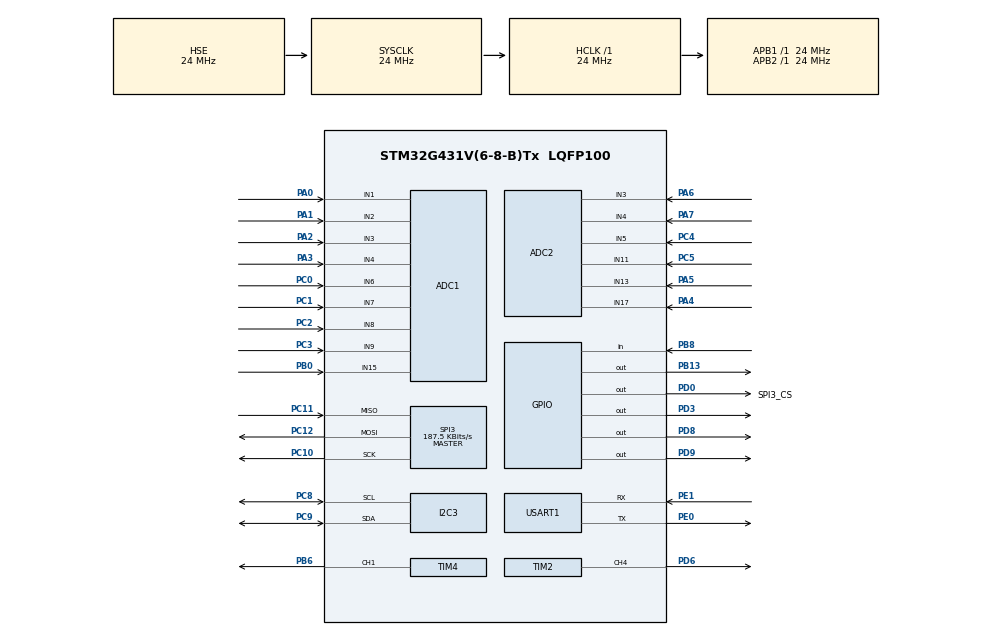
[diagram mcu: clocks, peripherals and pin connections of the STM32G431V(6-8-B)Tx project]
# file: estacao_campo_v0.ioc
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ADC1.Channel-0\#ChannelRegularConversion=ADC_CHANNEL_6
ADC1.Channel-1\#ChannelRegularConversion=ADC_CHANNEL_7
ADC1.Channel-2\#ChannelRegularConversion=ADC_CHANNEL_8
ADC1.Channel-3\#ChannelRegularConversion=ADC_CHANNEL_9
ADC1.Channel-4\#ChannelRegularConversion=ADC_CHANNEL_1
ADC1.Channel-5\#ChannelRegularConversion=ADC_CHANNEL_2
ADC1.Channel-6\#ChannelRegularConversion=ADC_CHANNEL_3
ADC1.Channel-7\#ChannelRegularConversion=ADC_CHANNEL_4
ADC1.Channel-8\#ChannelRegularConversion=ADC_CHANNEL_15
ADC1.ClockPrescaler=ADC_CLOCK_ASYNC_DIV12
ADC1.ContinuousConvMode=ENABLE
ADC1.DMAContinuousRequests=ENABLE
ADC1.NbrOfConversion=9
ADC1.NbrOfConversionFlag=1
ADC1.OffsetNumber-0\#ChannelRegularConversion=ADC_OFFSET_NONE
ADC1.OffsetNumber-1\#ChannelRegularConversion=ADC_OFFSET_NONE
ADC1.OffsetNumber-2\#ChannelRegularConversion=ADC_OFFSET_NONE
ADC1.OffsetNumber-3\#ChannelRegularConversion=ADC_OFFSET_NONE
ADC1.OffsetNumber-4\#ChannelRegularConversion=ADC_OFFSET_NONE
ADC1.OffsetNumber-5\#ChannelRegularConversion=ADC_OFFSET_NONE
ADC1.OffsetNumber-6\#ChannelRegularConversion=ADC_OFFSET_NONE
ADC1.OffsetNumber-7\#ChannelRegularConversion=ADC_OFFSET_NONE
ADC1.OffsetNumber-8\#ChannelRegularConversion=ADC_OFFSET_NONE
ADC1.OversamplingMode=DISABLE
ADC1.Rank-0\#ChannelRegularConversion=1
ADC1.Rank-1\#ChannelRegularConversion=2
ADC1.Rank-2\#ChannelRegularConversion=3
ADC1.Rank-3\#ChannelRegularConversion=4
ADC1.Rank-4\#ChannelRegularConversion=5
ADC1.Rank-5\#ChannelRegularConversion=6
ADC1.Rank-6\#ChannelRegularConversion=7
ADC1.Rank-7\#ChannelRegularConversion=8
ADC1.Rank-8\#ChannelRegularConversion=9
ADC1.SamplingTime-0\#ChannelRegularConversion=ADC_SAMPLETIME_2CYCLES_5
ADC1.SamplingTime-1\#ChannelRegularConversion=ADC_SAMPLETIME_2CYCLES_5
ADC1.SamplingTime-2\#ChannelRegularConversion=ADC_SAMPLETIME_2CYCLES_5
ADC1.SamplingTime-3\#ChannelRegularConversion=ADC_SAMPLETIME_2CYCLES_5
ADC1.SamplingTime-4\#ChannelRegularConversion=ADC_SAMPLETIME_2CYCLES_5
ADC1.SamplingTime-5\#ChannelRegularConversion=ADC_SAMPLETIME_2CYCLES_5
ADC1.SamplingTime-6\#ChannelRegularConversion=ADC_SAMPLETIME_2CYCLES_5
ADC1.SamplingTime-7\#ChannelRegularConversion=ADC_SAMPLETIME_2CYCLES_5
ADC1.SamplingTime-8\#ChannelRegularConversion=ADC_SAMPLETIME_2CYCLES_5
ADC1.master=1
ADC2.Channel-0\#ChannelRegularConversion=ADC_CHANNEL_13
ADC2.Channel-1\#ChannelRegularConversion=ADC_CHANNEL_17
ADC2.Channel-2\#ChannelRegularConversion=ADC_CHANNEL_3
ADC2.Channel-3\#ChannelRegularConversion=ADC_CHANNEL_4
ADC2.Channel-4\#ChannelRegularConversion=ADC_CHANNEL_5
ADC2.Channel-5\#ChannelRegularConversion=ADC_CHANNEL_11
ADC2.ClockPrescaler=ADC_CLOCK_ASYNC_DIV12
ADC2.ContinuousConvMode=ENABLE
ADC2.DMAContinuousRequests=ENABLE
ADC2.NbrOfConversion=6
ADC2.NbrOfConversionFlag=1
ADC2.OffsetNumber-0\#ChannelRegularConversion=ADC_OFFSET_NONE
ADC2.OffsetNumber-1\#ChannelRegularConversion=ADC_OFFSET_NONE
ADC2.OffsetNumber-2\#ChannelRegularConversion=ADC_OFFSET_NONE
ADC2.OffsetNumber-3\#ChannelRegularConversion=ADC_OFFSET_NONE
ADC2.OffsetNumber-4\#ChannelRegularConversion=ADC_OFFSET_NONE
ADC2.OffsetNumber-5\#ChannelRegularConversion=ADC_OFFSET_NONE
ADC2.Rank-0\#ChannelRegularConversion=1
ADC2.Rank-1\#ChannelRegularConversion=2
ADC2.Rank-2\#ChannelRegularConversion=3
ADC2.Rank-3\#ChannelRegularConversion=4
ADC2.Rank-4\#ChannelRegularConversion=5
ADC2.Rank-5\#ChannelRegularConversion=6
ADC2.SamplingTime-0\#ChannelRegularConversion=ADC_SAMPLETIME_2CYCLES_5
ADC2.SamplingTime-1\#ChannelRegularConversion=ADC_SAMPLETIME_2CYCLES_5
ADC2.SamplingTime-2\#ChannelRegularConversion=ADC_SAMPLETIME_2CYCLES_5
ADC2.SamplingTime-3\#ChannelRegularConversion=ADC_SAMPLETIME_2CYCLES_5
ADC2.SamplingTime-4\#ChannelRegularConversion=ADC_SAMPLETIME_2CYCLES_5
ADC2.SamplingTime-5\#ChannelRegularConversion=ADC_SAMPLETIME_2CYCLES_5
Dma.ADC1.0.Direction=DMA_PERIPH_TO_MEMORY
Dma.ADC1.0.EventEnable=DISABLE
Dma.ADC1.0.Instance=DMA1_Channel1
Dma.ADC1.0.MemDataAlignment=DMA_MDATAALIGN_HALFWORD
Dma.ADC1.0.MemInc=DMA_MINC_ENABLE
Dma.ADC1.0.Mode=DMA_CIRCULAR
Dma.ADC1.0.PeriphDataAlignment=DMA_PDATAALIGN_HALFWORD
Dma.ADC1.0.PeriphInc=DMA_PINC_DISABLE
Dma.ADC1.0.Polarity=HAL_DMAMUX_REQ_GEN_RISING
Dma.ADC1.0.Priority=DMA_PRIORITY_HIGH
Dma.ADC1.0.RequestNumber=1
Dma.ADC1.0.SignalID=NONE
Dma.ADC1.0.SyncEnable=DISABLE
Dma.ADC1.0.SyncPolarity=HAL_DMAMUX_SYNC_NO_EVENT
Dma.ADC1.0.SyncRequestNumber=1
Dma.ADC1.0.SyncSignalID=NONE
Dma.ADC2.1.Direction=DMA_PERIPH_TO_MEMORY
Dma.ADC2.1.EventEnable=DISABLE
Dma.ADC2.1.Instance=DMA1_Channel2
Dma.ADC2.1.MemDataAlignment=DMA_MDATAALIGN_HALFWORD
Dma.ADC2.1.MemInc=DMA_MINC_ENABLE
Dma.ADC2.1.Mode=DMA_CIRCULAR
Dma.ADC2.1.PeriphDataAlignment=DMA_PDATAALIGN_HALFWORD
Dma.ADC2.1.PeriphInc=DMA_PINC_DISABLE
Dma.ADC2.1.Polarity=HAL_DMAMUX_REQ_GEN_RISING
Dma.ADC2.1.Priority=DMA_PRIORITY_HIGH
Dma.ADC2.1.RequestNumber=1
Dma.ADC2.1.SignalID=NONE
Dma.ADC2.1.SyncEnable=DISABLE
Dma.ADC2.1.SyncPolarity=HAL_DMAMUX_SYNC_NO_EVENT
Dma.ADC2.1.SyncRequestNumber=1
Dma.ADC2.1.SyncSignalID=NONE
Dma.Request0=ADC1
Dma.Request1=ADC2
Dma.Request2=USART1_RX
Dma.Request3=USART1_TX
Dma.USART1_RX.2.Direction=DMA_PERIPH_TO_MEMORY
Dma.USART1_RX.2.EventEnable=DISABLE
Dma.USART1_RX.2.Instance=DMA1_Channel3
Dma.USART1_RX.2.MemDataAlignment=DMA_MDATAALIGN_BYTE
Dma.USART1_RX.2.MemInc=DMA_MINC_ENABLE
Dma.USART1_RX.2.Mode=DMA_NORMAL
Dma.USART1_RX.2.PeriphDataAlignment=DMA_PDATAALIGN_BYTE
Dma.USART1_RX.2.PeriphInc=DMA_PINC_DISABLE
Dma.USART1_RX.2.Polarity=HAL_DMAMUX_REQ_GEN_RISING
Dma.USART1_RX.2.Priority=DMA_PRIORITY_LOW
Dma.USART1_RX.2.RequestNumber=1
Dma.USART1_RX.2.SignalID=NONE
Dma.USART1_RX.2.SyncEnable=DISABLE
Dma.USART1_RX.2.SyncPolarity=HAL_DMAMUX_SYNC_NO_EVENT
Dma.USART1_RX.2.SyncRequestNumber=1
Dma.USART1_RX.2.SyncSignalID=NONE
Dma.USART1_TX.3.Direction=DMA_MEMORY_TO_PERIPH
Dma.USART1_TX.3.EventEnable=DISABLE
Dma.USART1_TX.3.Instance=DMA1_Channel4
Dma.USART1_TX.3.MemDataAlignment=DMA_MDATAALIGN_BYTE
Dma.USART1_TX.3.MemInc=DMA_MINC_ENABLE
Dma.USART1_TX.3.Mode=DMA_NORMAL
Dma.USART1_TX.3.PeriphDataAlignment=DMA_PDATAALIGN_BYTE
Dma.USART1_TX.3.PeriphInc=DMA_PINC_DISABLE
Dma.USART1_TX.3.Polarity=HAL_DMAMUX_REQ_GEN_RISING
Dma.USART1_TX.3.Priority=DMA_PRIORITY_LOW
Dma.USART1_TX.3.RequestNumber=1
Dma.USART1_TX.3.SignalID=NONE
Dma.USART1_TX.3.SyncEnable=DISABLE
Dma.USART1_TX.3.SyncPolarity=HAL_DMAMUX_SYNC_NO_EVENT
Dma.USART1_TX.3.SyncRequestNumber=1
Dma.USART1_TX.3.SyncSignalID=NONE
I2C3.Timing=0x00805C87
Mcu.Family=STM32G4
Mcu.Name=STM32G431V(6-8-B)Tx
Mcu.Package=LQFP100
NVIC.DMA1_Channel1_IRQn=true\:0\:0\:false\:false\:true\:false\:true\:true
NVIC.DMA1_Channel2_IRQn=true\:0\:0\:false\:false\:true\:false\:true\:true
NVIC.DMA1_Channel3_IRQn=true\:0\:0\:false\:false\:true\:false\:true\:true
NVIC.DMA1_Channel4_IRQn=true\:0\:0\:false\:false\:true\:false\:true\:true
NVIC.PriorityGroup=NVIC_PRIORITYGROUP_4
NVIC.USART1_IRQn=true\:0\:0\:false\:false\:true\:true\:true\:true
PA0.Mode=IN1-Single-Ended
PA0.Signal=ADC1_IN1
PA1.Mode=IN2-Single-Ended
PA1.Signal=ADC1_IN2
PA13.Mode=Serial_Wire
PA13.Signal=SYS_JTMS-SWDIO
PA14.Mode=Serial_Wire
PA14.Signal=SYS_JTCK-SWCLK
PA2.Mode=IN3-Single-Ended
PA2.Signal=ADC1_IN3
PA3.Mode=IN4-Single-Ended
PA3.Signal=ADC1_IN4
PA4.Mode=IN17-Single-Ended
PA4.Signal=ADC2_IN17
PA5.Mode=IN13-Single-Ended
PA5.Signal=ADC2_IN13
PA6.Mode=IN3-Single-Ended
PA6.Signal=ADC2_IN3
PA7.Mode=IN4-Single-Ended
PA7.Signal=ADC2_IN4
PB0.Mode=IN15-Single-Ended
PB0.Signal=ADC1_IN15
PB13.PinState=GPIO_PIN_RESET
PB13.Signal=GPIO_Output
PB6.Signal=S_TIM4_CH1
PB8-BOOT0.Signal=GPIO_Input
PC0.Mode=IN6-Single-Ended
PC0.Signal=ADC1_IN6
PC1.Mode=IN7-Single-Ended
PC1.Signal=ADC1_IN7
PC10.Mode=Full_Duplex_Master
PC10.Signal=SPI3_SCK
PC11.Mode=Full_Duplex_Master
PC11.Signal=SPI3_MISO
PC12.Mode=Full_Duplex_Master
PC12.Signal=SPI3_MOSI
PC14-OSC32_IN.Mode=LSE-External-Oscillator
PC14-OSC32_IN.Signal=RCC_OSC32_IN
PC15-OSC32_OUT.Mode=LSE-External-Oscillator
PC15-OSC32_OUT.Signal=RCC_OSC32_OUT
PC2.Mode=IN8-Single-Ended
PC2.Signal=ADC1_IN8
PC3.Mode=IN9-Single-Ended
PC3.Signal=ADC1_IN9
PC4.Mode=IN5-Single-Ended
PC4.Signal=ADC2_IN5
PC5.Mode=IN11-Single-Ended
PC5.Signal=ADC2_IN11
PC8.Mode=I2C
PC8.Signal=I2C3_SCL
PC9.Mode=I2C
PC9.Signal=I2C3_SDA
PD0.GPIO_Label=SPI3_CS
PD0.Signal=GPIO_Output
PD3.Signal=GPIO_Output
PD6.Signal=S_TIM2_CH4
PD8.Signal=GPIO_Output
PD9.Signal=GPIO_Output
PE0.Mode=Asynchronous
PE0.Signal=USART1_TX
PE1.Mode=Asynchronous
PE1.Signal=USART1_RX
PF0-OSC_IN.Mode=HSE-External-Oscillator
PF0-OSC_IN.Signal=RCC_OSC_IN
PF1-OSC_OUT.Mode=HSE-External-Oscillator
PF1-OSC_OUT.Signal=RCC_OSC_OUT
ProjectManager.HeapSize=0x200
ProjectManager.StackSize=0x400
ProjectManager.TargetToolchain=CMake
RCC.ADC12Freq_Value=24000000
RCC.AHBFreq_Value=24000000
RCC.APB1Freq_Value=24000000
RCC.APB1TimFreq_Value=24000000
RCC.APB2Freq_Value=24000000
RCC.APB2TimFreq_Value=24000000
RCC.CortexFreq_Value=24000000
RCC.EXTERNAL_CLOCK_VALUE=12288000
RCC.HCLKFreq_Value=24000000
RCC.HSE_VALUE=24000000
RCC.HSI48_VALUE=48000000
RCC.HSI_VALUE=16000000
RCC.RTCClockSelection=RCC_RTCCLKSOURCE_LSE
RCC.SYSCLKFreq_VALUE=24000000
RCC.SYSCLKSource=RCC_SYSCLKSOURCE_HSE
RCC.USBFreq_Value=64000000
RCC.VCOOutputFreq_Value=128000000
RTC.Date=25
RTC.Hours=16
RTC.Minutes=0
RTC.Month=RTC_MONTH_MAY
RTC.Seconds=0
RTC.WeekDay=RTC_WEEKDAY_WEDNESDAY
RTC.Year=26
SH.S_TIM2_CH4.0=TIM2_CH4,PWM Generation4 CH4
SH.S_TIM4_CH1.0=TIM4_CH1,PWM Generation1 CH1
SPI3.BaudRatePrescaler=SPI_BAUDRATEPRESCALER_128
SPI3.CalculateBaudRate=187.5 KBits/s
SPI3.DataSize=SPI_DATASIZE_8BIT
SPI3.Direction=SPI_DIRECTION_2LINES
SPI3.Mode=SPI_MODE_MASTER
SPI3.VirtualType=VM_MASTER
TIM2.AutoReloadPreload=TIM_AUTORELOAD_PRELOAD_ENABLE
TIM2.Channel-PWM\ Generation4\ CH4=TIM_CHANNEL_4
TIM2.PeriodNoDither=16384
TIM4.AutoReloadPreload=TIM_AUTORELOAD_PRELOAD_ENABLE
TIM4.Channel-PWM\ Generation1\ CH1=TIM_CHANNEL_1
TIM4.PeriodNoDither=60000
USART1.VirtualMode-Asynchronous=VM_ASYNC
VP_FATFS_VS_Generic.Mode=User_defined
VP_RTC_VS_RTC_Activate.Mode=RTC_Enabled
VP_RTC_VS_RTC_Calendar.Mode=RTC_Calendar
VP_SYS_VS_DBSignals.Mode=DisableDeadBatterySignals
VP_TIM2_VS_ClockSourceINT.Mode=Internal
VP_TIM4_VS_ClockSourceINT.Mode=Internal
board=custom

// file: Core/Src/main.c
/* USER CODE BEGIN Header */
/**
  ******************************************************************************
  * @file           : main.c
  * @brief          : Main program body
  ******************************************************************************
  * @attention
  *
  * Copyright (c) 2024 STMicroelectronics.
  * All rights reserved.
  *
  * This software is licensed under terms that can be found in the LICENSE file
  * in the root directory of this software component.
  * If no LICENSE file comes with this software, it is provided AS-IS.
  *
  ******************************************************************************
  */
/* USER CODE END Header */
#include "main.h"
#include "adc.h"
#include "dma.h"
#include "app_fatfs.h"
#include "i2c.h"
#include "rtc.h"
#include "spi.h"
#include "tim.h"
#include "usart.h"
#include "gpio.h"

/* USER CODE BEGIN Includes */
#include "sdcard.h"
#include "stdio.h"
#include "stdlib.h"
#include "alphasense.h"
#include "7Smart_Semeatech.h"
#include "bme280.h"
#include "string.h"
//#include "INA219.h"
/* USER CODE END Includes */

/* USER CODE BEGIN PTD */

typedef struct
{
	float fator;
	float temperatura;

	sensorAlphasense co;
	sensorAlphasense nh3;
	sensorAlphasense voc;
	sensorAlphasense so2;
	sensorAlphasense h2s;
}
ALPHASENSE;

struct MICS
{
	float co, nh3, no2;
};
typedef struct MICS MICS6814;

enum dir_vento{ Norte_Nordeste = 1,
				Leste_Nordeste = 2,
				Leste_Sudeste = 3,
				Sul_Sudeste = 4,
				Sul_Sudoeste = 5,
				Oeste_Sudoeste = 6,
				Oeste_Noroeste = 7,
				Norte_Noroeste = 8};
struct VENTO
{
	float vel_ms;
	enum dir_vento direcao;
};
typedef struct VENTO ANEMO;

//INA219_t ina219;

/* USER CODE END PTD */

/* USER CODE BEGIN PD */

#define IWDG_ON
#define DEBUG_ON
#define INA219_ADDRESS_U28 0x45
#define INA219_ADDRESS_U29 0x40

// CONFIGURACAO INICIAL REAL TIME CLOCK (HORA E DATA)
//#define INIT_RTC

/* USER CODE END PD */

/* USER CODE BEGIN PV */
volatile uint16_t adc1_dma_result[9] = {0,0,0,0,0,0,0,0,0};
const uint8_t adc1_channel_count = sizeof(adc1_dma_result)/sizeof(adc1_dma_result[0]);
volatile uint16_t adc2_dma_result[6] = {0,0,0,0,0,0};
const uint8_t adc2_channel_count = sizeof(adc2_dma_result)/sizeof(adc2_dma_result[0]);

sensorSematech ch3sh_semeatech, nh3_semeatech, so2_semeatech, h2s_semeatech, voc_semeatech;
MICS6814 mics;
BME280 bme;
ANEMO anemo;

//uint8_t texto[1] = "C";                                            // JAMERSON ------------------------------
//uint8_t hello_stm[] = "Hello, world from STM da estacao\r\n";
//uint8_t packet[92];
//uint8_t texto_rx[1];
//uint16_t cnt_rx = 0;
//uint16_t cnt_tx = 0;
//uint16_t debug = 0;
//int offset = 0;

typedef enum{
  UART_STATE_GET_VOC    = 0x41, // "A"
  UART_STATE_GET_H2S    = 0x42, // "B"
  UART_STATE_GET_SO2    = 0x43, // "C"
  UART_STATE_GET_NH3    = 0x44, // "D"
  UART_STATE_GET_CH3SH  = 0x45, // "E"
  UART_STATE_GET_MICS   = 0x46, // "F"
  UART_STATE_GET_PRESS    = 0x47, // "G"
  UART_STATE_GET_ANEMO  = 0x48, // "H"
  UART_STATE_ERROR      = 0x58, // "X"
  UART_STATE_GET_TEMP	= 0x49, // "I"
  UART_STATE_GET_HUM	= 0x4A  // "J"
} enum_get_sensors;

static uint8_t rx_received[1];
static uint8_t packet[8];
uint8_t wake_up = 0x79;

float buffer_dados_estaticos[31];
/* USER CODE END PV */

void SystemClock_Config(void);
/* USER CODE BEGIN PFP */
uint16_t contador_amostragem = 0;
uint32_t voc_ppb_acumulado = 0;
uint32_t h2s_ppb_acumulado = 0;
uint32_t so2_ppb_acumulado = 0;
uint32_t nh3_ppb_acumulado = 0;
uint32_t ch3sh_ppb_acumulado = 0;
float temp_avg_acumulado = 0.0f;
float temp_avg_instantanea = 0.0f;
float hum_avg_acumulado = 0.0f;
float hum_avg_instantanea = 0.0f;
float temp_avg_max = 0.0f;
float temp_avg_min = 100.0f;
float hum_avg_max = 0.0f;
float hum_avg_min = 100.0f;
float press_acumulado = 0.0f;
float press_max = 0.0f;
float press_min = 20000.0f; //90000 de offset, entao 10000 corresponde a 100000 de pressao absoluta
float wind_velocity_avg = 0.0f;
float wind_velocity_max = 0.0f;
float wind_velocity_min = 100.0f;
int wind_direction_moda = 0;

uint16_t voc_ppb_max = 0;
uint16_t h2s_ppb_max = 0;
uint16_t so2_ppb_max = 0;
uint16_t nh3_ppb_max = 0;
uint16_t ch3sh_ppb_max = 0;
uint16_t voc_ppb_min = 0xFFFF;
uint16_t h2s_ppb_min = 0xFFFF;
uint16_t so2_ppb_min = 0xFFFF;
uint16_t nh3_ppb_min = 0xFFFF;
uint16_t ch3sh_ppb_min = 0xFFFF;

void zerar_acumuladores()
{
	contador_amostragem = 0;
	voc_ppb_acumulado = 0;
	h2s_ppb_acumulado = 0;
	so2_ppb_acumulado = 0;
	nh3_ppb_acumulado = 0;
	ch3sh_ppb_acumulado = 0;
	temp_avg_acumulado = 0.0f;
	temp_avg_max = 0.0f;
	temp_avg_min = 100.0f;
	hum_avg_acumulado = 0.0f;
	hum_avg_max = 0.0f;
	hum_avg_min = 100.0f;
	press_acumulado = 0.0f;
	press_max = 0.0f;
	press_min = 20000.0f; //90000 de offset, entao 10000 corresponde a 100000 de pressao absoluta
	wind_velocity_avg = 0.0f;
	wind_velocity_max = 0.0f;
	wind_velocity_min = 100.0f;
	wind_direction_moda = 0;
	voc_ppb_max = 0;
 	h2s_ppb_max = 0;
 	so2_ppb_max = 0;
 	nh3_ppb_max = 0;
 	ch3sh_ppb_max = 0;
 	voc_ppb_min = 0xFFFF;
 	h2s_ppb_min = 0xFFFF;
 	so2_ppb_min = 0xFFFF;
 	nh3_ppb_min = 0xFFFF;
 	ch3sh_ppb_min = 0xFFFF;
}

void parse_data()
{
	// CONCENTRAÇÃO
	// acumulador para média
	voc_ppb_acumulado = voc_ppb_acumulado + voc_semeatech.ppb;
	h2s_ppb_acumulado = h2s_ppb_acumulado + h2s_semeatech.ppb;
	//so2_ppb_acumulado = so2_ppb_acumulado + so2_semeatech.ppb;
	nh3_ppb_acumulado = nh3_ppb_acumulado + nh3_semeatech.ppb;
	ch3sh_ppb_acumulado = ch3sh_ppb_acumulado + ch3sh_semeatech.ppb;
	// valores máximos
	voc_ppb_max = (voc_semeatech.ppb > voc_ppb_max) ? voc_semeatech.ppb : voc_ppb_max;
	h2s_ppb_max = (h2s_semeatech.ppb > h2s_ppb_max) ? h2s_semeatech.ppb : h2s_ppb_max;
	//so2_ppb_max = (so2_semeatech.ppb > so2_ppb_max) ? so2_semeatech.ppb : so2_ppb_max;
	nh3_ppb_max = (nh3_semeatech.ppb > nh3_ppb_max) ? nh3_semeatech.ppb : nh3_ppb_max;
	ch3sh_ppb_max = (ch3sh_semeatech.ppb > ch3sh_ppb_max) ? ch3sh_semeatech.ppb : ch3sh_ppb_max;
	// valores mínimos
	voc_ppb_min = (voc_semeatech.ppb < voc_ppb_min) ? voc_semeatech.ppb : voc_ppb_min;
	h2s_ppb_min = (h2s_semeatech.ppb < h2s_ppb_min) ? h2s_semeatech.ppb : h2s_ppb_min;
	//so2_ppb_min = (so2_semeatech.ppb < so2_ppb_min) ? so2_semeatech.ppb : so2_ppb_min;
	nh3_ppb_min = (nh3_semeatech.ppb < nh3_ppb_min) ? nh3_semeatech.ppb : nh3_ppb_min;
	ch3sh_ppb_min = (ch3sh_semeatech.ppb < ch3sh_ppb_min) ? ch3sh_semeatech.ppb : ch3sh_ppb_min;

	// TEMPERATURA, UMIDADE E PRESSÃO
	// média
	temp_avg_instantanea = (voc_semeatech.temperature + h2s_semeatech.temperature + so2_semeatech.temperature + nh3_semeatech.temperature + ch3sh_semeatech.temperature)/5.0f;
	temp_avg_acumulado = temp_avg_acumulado + temp_avg_instantanea;
	hum_avg_instantanea = (voc_semeatech.humidity + h2s_semeatech.humidity + so2_semeatech.humidity + nh3_semeatech.humidity + ch3sh_semeatech.humidity)/5.0f;
	hum_avg_acumulado = hum_avg_acumulado + hum_avg_instantanea;
	// valores máximo e mínimo
	temp_avg_max = (temp_avg_instantanea > temp_avg_max) ? temp_avg_instantanea : temp_avg_max;
	temp_avg_min = (temp_avg_instantanea < temp_avg_min) ? temp_avg_instantanea : temp_avg_min;
	hum_avg_max = (hum_avg_instantanea > hum_avg_max) ? hum_avg_instantanea : hum_avg_max;
	hum_avg_min = (hum_avg_instantanea < hum_avg_min) ? hum_avg_instantanea : hum_avg_min;

	press_acumulado = press_acumulado + (bme.pres - 90000); // subtrai o offset de 90000 para trabalhar com valores mais próximos da realidade (pressão absoluta em Pa)
	press_max = ((bme.pres - 90000) > press_max) ? (bme.pres - 90000) : press_max;
	press_min = ((bme.pres - 90000) < press_min) ? (bme.pres - 90000) : press_min;

	// VELOCIDADE DO VENTO
	wind_velocity_avg = wind_velocity_avg + anemo.vel_ms;
	wind_velocity_max = (anemo.vel_ms > wind_velocity_max) ? anemo.vel_ms : wind_velocity_max;
	wind_velocity_min = (anemo.vel_ms < wind_velocity_min) ? anemo.vel_ms : wind_velocity_min;
	//wind_direction_moda = anemo.direcao;

	contador_amostragem++;
}

void build_packet(enum_get_sensors sensor){
	uint16_t aux_16;
	switch(sensor){
		case UART_STATE_GET_VOC:
			packet[0] = UART_STATE_GET_VOC;
			aux_16 = (uint16_t)(voc_ppb_acumulado/contador_amostragem);
			packet[1] = (aux_16 >> 8) & 0xFF;
			packet[2] = aux_16 & 0xFF;
			aux_16 = (uint16_t)(voc_ppb_max);
			packet[3] = (aux_16 >> 8) & 0xFF;
			packet[4] = aux_16 & 0xFF;
			aux_16 = (uint16_t)(voc_ppb_min);
			packet[5] = (aux_16 >> 8) & 0xFF;
			packet[6] = aux_16 & 0xFF;
			break;
		case UART_STATE_GET_H2S:
			packet[0] = UART_STATE_GET_H2S;
			aux_16 = (uint16_t)(h2s_ppb_acumulado/contador_amostragem);
			packet[1] = (aux_16 >> 8) & 0xFF;
			packet[2] = aux_16 & 0xFF;
			aux_16 = (uint16_t)(h2s_ppb_max);
			packet[3] = (aux_16 >> 8) & 0xFF;
			packet[4] = aux_16 & 0xFF;
			aux_16 = (uint16_t)(h2s_ppb_min);
			packet[5] = (aux_16 >> 8) & 0xFF;
			packet[6] = aux_16 & 0xFF;
			break;
		case UART_STATE_GET_SO2:
			packet[0] = UART_STATE_GET_SO2;
			aux_16 = (uint16_t)(so2_ppb_acumulado/contador_amostragem);
			packet[1] = (aux_16 >> 8) & 0xFF;
			packet[2] = aux_16 & 0xFF;
			aux_16 = (uint16_t)(so2_ppb_max);
			packet[3] = (aux_16 >> 8) & 0xFF;
			packet[4] = aux_16 & 0xFF;
			aux_16 = (uint16_t)(so2_ppb_min);
			packet[5] = (aux_16 >> 8) & 0xFF;
			packet[6] = aux_16 & 0xFF;
			break;
		case UART_STATE_GET_NH3:
			packet[0] = UART_STATE_GET_NH3;
			aux_16 = (uint16_t)(nh3_ppb_acumulado/contador_amostragem);
			packet[1] = (aux_16 >> 8) & 0xFF;
			packet[2] = aux_16 & 0xFF;
			aux_16 = (uint16_t)(nh3_ppb_max);
			packet[3] = (aux_16 >> 8) & 0xFF;
			packet[4] = aux_16 & 0xFF;
			aux_16 = (uint16_t)(nh3_ppb_min);
			packet[5] = (aux_16 >> 8) & 0xFF;
			packet[6] = aux_16 & 0xFF;
			break;
		case UART_STATE_GET_CH3SH:
			packet[0] = UART_STATE_GET_CH3SH;
			aux_16 = (uint16_t)(ch3sh_ppb_acumulado/contador_amostragem);
			packet[1] = (aux_16 >> 8) & 0xFF;
			packet[2] = aux_16 & 0xFF;
			aux_16 = (uint16_t)(ch3sh_ppb_max);
			packet[3] = (aux_16 >> 8) & 0xFF;
			packet[4] = aux_16 & 0xFF;
			aux_16 = (uint16_t)(ch3sh_ppb_min);
			packet[5] = (aux_16 >> 8) & 0xFF;
			packet[6] = aux_16 & 0xFF;
			break;
		case UART_STATE_GET_MICS:
			/*packet[1]  = 0x63  ; // id da medida 1 "c"pb
			packet[6]  = 0x6E  ; // id da medida 2 "n"g
			packet[11] = 0x6F  ; // id da medida 3 "o"emp
			packet[16] = 0x6C  ; // id da medida 4 nul"l"
			float_to_bytes(mics_co, temp_buffer);
			memcpy(&packet[2], temp_buffer, 4);
			float_to_bytes(mics_nh3, temp_buffer);
			memcpy(&packet[7], temp_buffer, 4);
			float_to_bytes(mi

void HAL_UART_RxCpltCallback(UART_HandleTypeDef *huart) {
    if (huart->Instance == USART1) {
      build_packet(rx_received[0]);

      HAL_UART_AbortTransmit(huart);
      HAL_UART_Transmit_DMA(&huart1, packet, 8);
      HAL_UART_Receive_DMA(&huart1, rx_received, 1);
    }
}cs_no2, temp_buffer);
			memcpy(&packet[12], temp_buffer, 4);
			memset(&packet[17], 0, 4);
			break;*/
		case UART_STATE_GET_PRESS:
			packet[0] = UART_STATE_GET_PRESS;
			aux_16 = (uint16_t)(press_acumulado/contador_amostragem);
			packet[1] = (aux_16 >> 8) & 0xFF;
			packet[2] = aux_16 & 0xFF;
			aux_16 = (uint16_t)(press_max);
			packet[3] = (aux_16 >> 8) & 0xFF;
			packet[4] = aux_16 & 0xFF;
			aux_16 = (uint16_t)(press_min);
			packet[5] = (aux_16 >> 8) & 0xFF;
			packet[6] = aux_16 & 0xFF;
			break;
		case UART_STATE_GET_ANEMO:
			packet[0] = UART_STATE_GET_ANEMO;
			packet[1] = (uint8_t)wind_direction_moda;
			packet[2] = (uint8_t)(wind_velocity_avg/contador_amostragem);
			packet[3] = (uint8_t)wind_velocity_max;
			packet[4] = (uint8_t)wind_velocity_min;
			packet[5] = 0;
			packet[6] = 0;
			zerar_acumuladores();
			break;
		case UART_STATE_GET_TEMP:
			packet[0] = UART_STATE_GET_TEMP;
			aux_16 = (uint16_t)((temp_avg_acumulado/contador_amostragem)*100.0f);
			packet[1] = (aux_16 >> 8) & 0xFF;
			packet[2] = aux_16 & 0xFF;
			aux_16 = (uint16_t)(temp_avg_max*100.0f);
			packet[3] = (aux_16 >> 8) & 0xFF;
			packet[4] = aux_16 & 0xFF;
			aux_16 = (uint16_t)(temp_avg_min*100.0f);
			packet[5] = (aux_16 >> 8) & 0xFF;
			packet[6] = aux_16 & 0xFF;
			break;
		case UART_STATE_GET_HUM:
			packet[0] = UART_STATE_GET_HUM;
			aux_16 = (uint16_t)((hum_avg_acumulado/contador_amostragem)*100.0f);
			packet[1] = (aux_16 >> 8) & 0xFF;
			packet[2] = aux_16 & 0xFF;
			aux_16 = (uint16_t)(hum_avg_max*100.0f);
			packet[3] = (aux_16 >> 8) & 0xFF;
			packet[4] = aux_16 & 0xFF;
			aux_16 = (uint16_t)(hum_avg_min*100.0f);
			packet[5] = (aux_16 >> 8) & 0xFF;
			packet[6] = aux_16 & 0xFF;
			// zera o contado de amostragem e os acumuladores para a próxima rodada de medições
			//zerar_acumuladores();
			break;
		default:
			// Limpa os dados em caso de sensor inválido
			memset(&packet[0], 0, 8);
			break;
	}

	uint8_t xor_checksum = 0;
	for (int i = 0; i < 7; i++) {
	    xor_checksum ^= packet[i];
	}
	packet[7] = xor_checksum;
}

void HAL_UART_RxCpltCallback(UART_HandleTypeDef *huart) {
    if (huart->Instance == USART1) {
      build_packet(rx_received[0]);

      HAL_UART_AbortTransmit(huart);
      HAL_UART_Transmit_DMA(&huart1, packet, 8);
      HAL_UART_Receive_DMA(&huart1, rx_received, 1);
    }
}

void initSensorAlphasense(ALPHASENSE *sensores);
void readSensoresAlphasense(ALPHASENSE *sensores);

/* USER CODE END PFP */

/* USER CODE BEGIN 0 */

void initSensorAlphasense(ALPHASENSE *sensores)
{

	/*
	 *  DIVISOR DE TENSAO = 6k8 e 3k3
	 *  divisor tensao = 6k8 / (6k8 + 3k3)
	 *  fator = 1 / divisor tensao
	 */
	sensores->fator = 1.485;
	sensores->temperatura = 25;

	// SENSOR CO-B4
	sensores->co.code = CO_B4;
	//sensores->co.equation = 1;
	sensores->co.equation = 2;
	sensores->co.WE_0_value = 322;
	sensores->co.AE_0_value = 344;
	sensores->co.WE_E_value = 335;
	sensores->co.AE_E_value = 342;
	sensores->co.gain_mV_ppb = 0.370;

	// SENSOR S02-B4
	sensores->so2.code = SO2_B4;
	//sensores->so2.equation = 4;
	sensores->so2.equation = 1;
	sensores->so2.WE_0_value = 412;
	sensores->so2.AE_0_value = 372;
	sensores->so2.WE_E_value = 360;
	sensores->so2.AE_E_value = 358;
	sensores->so2.gain_mV_ppb = 0.380;

	//SENSOR VOC-B4
	sensores->voc.code = VOC_B4;
	sensores->voc.equation = 3;
	sensores->voc.WE_0_value = 473;
	sensores->voc.AE_0_value = 324;
	sensores->voc.WE_E_value = 340;
	sensores->voc.AE_E_value = 351;
	sensores->voc.gain_mV_ppb = 0.537;

	//SENSOR NH3-B1
	sensores->nh3.code = NH3_B1;
	//sensores->nh3.equation = 4;
	sensores->nh3.equation = 3;
	sensores->nh3.WE_0_value = 963;
	sensores->nh3.AE_0_value = 281;
	sensores->nh3.WE_E_value = 280;
	sensores->nh3.AE_E_value = 281;
	sensores->nh3.gain_mV_ppb = 0.030;

	//SENSOR H2S-B4
	sensores->h2s.code = H2S_B4;
	sensores->h2s.equation = 1;
	sensores->h2s.WE_0_value = 360;
	sensores->h2s.AE_0_value = 340;
	sensores->h2s.WE_E_value = 348;
	sensores->h2s.AE_E_value = 340;
	sensores->h2s.gain_mV_ppb = 1.566;
}

void readSensoresAlphasense(ALPHASENSE *sensores)
{
	/* ADC1 */

	sensores->so2.WE_U_raw = sensores->fator*adc1_dma_result[1]*3300/4095;
	sensores->so2.AE_U_raw = sensores->fator*adc1_dma_result[0]*3300/4095;
	sensores->so2.temperature = sensores->temperatura;

	sensores->h2s.WE_U_raw = sensores->fator*adc1_dma_result[3]*3300/4095;
	sensores->h2s.AE_U_raw = sensores->fator*adc1_dma_result[2]*3300/4095;
	sensores->h2s.temperature = sensores->temperatura;

	sensores->co.WE_U_raw = sensores->fator*adc1_dma_result[5]*3300/4095;
	sensores->co.AE_U_raw = sensores->fator*adc1_dma_result[4]*3300/4095;
	sensores->co.temperature = sensores->temperatura;

	sensores->voc.WE_U_raw = sensores->fator*adc1_dma_result[7]*3300/4095;
	sensores->voc.AE_U_raw = sensores->fator*adc1_dma_result[6]*3300/4095;
	sensores->voc.temperature = sensores->temperatura;

	/* ADC2 */

	sensores->nh3.WE_U_raw = sensores->fator*adc2_dma_result[0]*3300/4095;
	sensores->nh3.AE_U_raw = sensores->fator*adc2_dma_result[1]*3300/4095;
	sensores->nh3.temperature = sensores->temperatura;

	/*
	 * CALCULO EQUACOES ALPHASENSE
	 */
	/*
	calc_ppm_ppb(&sensores->h2s);
	calc_ppm_ppb(&sensores->so2);
	calc_ppm_ppb(&sensores->co);
	calc_ppm_ppb(&sensores->voc);
	calc_ppm_ppb(&sensores->nh3);
	*/
}

void readMICS6814(MICS6814 *mics)
{
	mics->co  = adc2_dma_result[2]*3300/4095;
	mics->nh3 = adc2_dma_result[3]*3300/4095;
	mics->no2 = adc2_dma_result[4]*3300/4095;
}

// Comparison function for floats
int compare_floats(const void* a, const void* b) {
    float fa = *(const float*)a;
    float fb = *(const float*)b;
    return (fa > fb) - (fa < fb);  // returns 1 if fa > fb, -1 if fa < fb, 0 if equal
}

void controleUmidade()
{
	int size = 5;
	float umidade_media = 0;

	float umidade_semeatech[] = {voc_semeatech.humidity, h2s_semeatech.humidity, so2_semeatech.humidity, nh3_semeatech.humidity, ch3sh_semeatech.humidity};

    qsort(umidade_semeatech, size, sizeof(float), compare_floats);

    //CALCULA A UMIDADE MEDIA NAO LEVANDO EM CONTA O MENOR E MAIOR VALOR
    umidade_media = umidade_semeatech[1] + umidade_semeatech[2] + umidade_semeatech[3];
    umidade_media = umidade_media/(size-2);

    if(umidade_media >= 75) {
    	__HAL_TIM_SET_COMPARE(&htim2, TIM_CHANNEL_4, 3277); //DUTY CYCLE 20%
    }
    else {
    	__HAL_TIM_SET_COMPARE(&htim2, TIM_CHANNEL_4, 0); //DUTY CYCLE 0%
    }
}

void readVelDirVento(ANEMO *s)
{
	/* ORIGINAL
	uint32_t dir_vento  = adc1_dma_result[8]*3300/4095;
	uint32_t vel_vento = adc2_dma_result[5]*3300/4095;
	s->vel_ms = 0;

	if(dir_vento < 835)
		s->direcao = Norte_Nordeste;
	else if(dir_vento >= 835 && dir_vento < 1165)
		s->direcao = Leste_Nordeste;
	else if(dir_vento >= 1165 && dir_vento < 1495)
		s->direcao = Leste_Sudeste;
	else if(dir_vento >= 1495 && dir_vento < 1820)
		s->direcao = Sul_Sudeste;
	else if(dir_vento >= 1820 && dir_vento < 2145)
		s->direcao = Sul_Sudoeste;
	else if(dir_vento >= 2145 && dir_vento < 2465)
		s->direcao = Oeste_Sudoeste;
	else if(dir_vento >= 2465 && dir_vento < 2795)
		s->direcao = Oeste_Noroeste;
	else if(dir_vento >= 2465 && dir_vento < 2795)
		s->direcao = Norte_Noroeste;

	if(vel_vento < 559)
		s->vel_ms = (13.42/1000)*vel_vento -7.5;
	*/
	/* JAMErSON */
		uint32_t dir_vento  = adc1_dma_result[8]*3300/4095;
		uint32_t vel_vento = adc2_dma_result[5]*3300/4095;
		s->vel_ms = 0;

		if(dir_vento < 835){
			s->direcao = Norte_Nordeste;
			wind_direction_moda = 0;}
		else if(dir_vento >= 835 && dir_vento < 1165){
			s->direcao = Leste_Nordeste;
			wind_direction_moda = 1;}
		else if(dir_vento >= 1165 && dir_vento < 1495){
			s->direcao = Leste_Sudeste;
			wind_direction_moda = 2;}
		else if(dir_vento >= 1495 && dir_vento < 1820){
			s->direcao = Sul_Sudeste;
			wind_direction_moda = 3;}
		else if(dir_vento >= 1820 && dir_vento < 2145){
			s->direcao = Sul_Sudoeste;
			wind_direction_moda = 4;}
		else if(dir_vento >= 2145 && dir_vento < 2465){
			s->direcao = Oeste_Sudoeste;
			wind_direction_moda = 5;}
		else if(dir_vento >= 2465 && dir_vento < 2795){
			s->direcao = Oeste_Noroeste;
			wind_direction_moda = 6;}
		else if(dir_vento >= 2465 && dir_vento < 2795){
			s->direcao = Norte_Noroeste;
			wind_direction_moda = 7;}

		if(vel_vento < 559)
			s->vel_ms = (13.42/1000)*vel_vento +2;
}

DATASDCARD medidas;

/* USER CODE END 0 */

int main(void)
{

  /* USER CODE BEGIN 1 */
  //char file_name[50];
  //uint16_t current;

  // CONFIGURACAO SENSORES ALPHASENSE
  //ALPHASENSE *sensoresAlphasense = malloc(sizeof(ALPHASENSE));
  //initSensorAlphasense(sensoresAlphasense);

  // ESTRUTURA DADOS SENSORES SD CARD DINAMICA
  //DATASDCARD *medidas = malloc(sizeof(DATASDCARD));
  //medidas->tam = 31;
  //medidas->data = malloc(medidas->tam*sizeof(float));
  //medidas->hrtc = &hrtc;
  // ESTUTURA DADOS SENSORES SD CARD ESTATICA
  //DATASDCARD medidas;
  medidas.tam = 31;
  medidas.data = buffer_dados_estaticos;
  medidas.hrtc = &hrtc;

  /* USER CODE END 1 */

  /* MCU Configuration--------------------------------------------------------*/

  /* Reset of all peripherals, Initializes the Flash interface and the Systick. */
  HAL_Init();

  /* USER CODE BEGIN Init */
  HAL_Delay(15000);
  /* USER CODE END Init */

  /* Configure the system clock */
  SystemClock_Config();

  /* Initialize all configured peripherals */
  MX_GPIO_Init();
  MX_DMA_Init();
  MX_ADC1_Init();
  MX_ADC2_Init();
  MX_SPI3_Init();
  if (MX_FATFS_Init() != APP_OK) {
    Error_Handler();
  }
  MX_RTC_Init();
  MX_I2C3_Init();
  MX_TIM2_Init();
  MX_TIM4_Init();
  MX_USART1_UART_Init();
  /* USER CODE BEGIN 2 */

  //HAL_UART_Receive_DMA(&huart1, rx_received, 1); // JAMERSON ------------------------------

#ifdef IWDG_ON
  //MX_IWDG_Init();
#endif

  HAL_Delay(1000);
  HAL_GPIO_WritePin(GPIOB, GPIO_PIN_13, GPIO_PIN_SET);

  // Configuracao DMA
  HAL_ADC_Start_DMA(&hadc1, (uint32_t *) adc1_dma_result , adc1_channel_count);
  HAL_ADC_Start_DMA(&hadc2, (uint32_t *) adc2_dma_result , adc2_channel_count);

  //Calibracao ADC1
  HAL_ADCEx_Calibration_Start(&hadc1, ADC_SINGLE_ENDED);
  HAL_ADCEx_Calibration_Start(&hadc2, ADC_SINGLE_ENDED);

  //Set Alimentacao 3VA3
  HAL_GPIO_WritePin(GPIOD, GPIO_PIN_8, 1);
  //Set Alimentacao 5VA
  HAL_GPIO_WritePin(GPIOD, GPIO_PIN_9, 1);
  //Set Alimentacao 3V3
  HAL_GPIO_WritePin(GPIOD, GPIO_PIN_3, 1);

  //INIT TIMER
  HAL_TIM_PWM_Start(&htim2, TIM_CHANNEL_4);
  HAL_TIM_PWM_Start(&htim4, TIM_CHANNEL_1);

  //TIM2->CCR2 = 15000;
  //TIM4->CCR1 = 15000;

  //CONTROLE RESISTENCIA
  __HAL_TIM_SET_COMPARE(&htim2, TIM_CHANNEL_4, 0);
  //CONTROLE FLUXO AR
  __HAL_TIM_SET_COMPARE(&htim4, TIM_CHANNEL_1, 39000); //65% DUTY CYCLE

  //CONFIG BME280

  HAL_Delay(4000);
  BME280_Config(OSRS_2, OSRS_16, OSRS_1, MODE_NORMAL, T_SB_0p5, IIR_16);
  //HAL_GPIO_WritePin(GPIOB, GPIO_PIN_13, GPIO_PIN_RESET);
  //HAL_Delay(2000);
  //CONFIG SENSOR VEL. DIREC. VENTO
  //INA219_Init(&ina219, &hi2c1, INA219_ADDRESS_U28);

  //Configuracao SD CARD
  //sprintf(file_name,"medidas%d.csv", 1);
  char file_name1[] = "medidas.csv";
  if(initFileMedidas(file_name1) == -1) {
    while(1) {
        HAL_GPIO_TogglePin(GPIOB, GPIO_PIN_13); // Pisca rápido indicando ERRO
        HAL_Delay(100);
    }
} else {
	for(int i = 0; i < 6; i++) {
		HAL_GPIO_TogglePin(GPIOB, GPIO_PIN_13); // Pisca rápido indicando ERRO
		HAL_Delay(500);
	}
}

	//HAL_Delay(1000);
  HAL_UART_Receive_DMA(&huart1, rx_received, 1);
  HAL_UART_Transmit_DMA(&huart1, &wake_up, sizeof(wake_up));
  /* USER CODE END 2 */

  /* Infinite loop */
  /* USER CODE BEGIN WHILE */
  while (1)
  {
	//findAddrI2C(&hi2c3);

	read_CH3SH_I2C(&hi2c3, &ch3sh_semeatech);
	read_NH3_I2C(&hi2c3, &nh3_semeatech);
	read_SO2_I2C(&hi2c3, &so2_semeatech);
	read_H2S_I2C(&hi2c3, &h2s_semeatech);
	read_VOC_I2C(&hi2c3, &voc_semeatech);
	BME280_Measure(&bme);
	readMICS6814(&mics);

	readVelDirVento(&anemo);

	/* medidas->data[0] = voc_semeatech.ppb;
	medidas->data[1] = voc_semeatech.ug;
	medidas->data[2] = voc_semeatech.temperature;
	medidas->data[3] = voc_semeatech.humidity; */
	medidas.data[0] = voc_semeatech.ppb;
	medidas.data[1] = voc_semeatech.ug;
	medidas.data[2] = voc_semeatech.temperature;
	medidas.data[3] = voc_semeatech.humidity;
	//medidas->data[0] = 123.456f;
	//medidas->data[1] = 234.567f;
	//medidas->data[2] = 345.678f;
	//medidas->data[3] = 456.789f;
	//float_to_bytes(voc_semeatech.ppb, packet, offset); offset += 4;
	//float_to_bytes(voc_semeatech.ug, packet, offset); offset += 4;
	//float_to_bytes(voc_semeatech.temperature, packet, offset); offset += 4;
	//float_to_bytes(voc_semeatech.humidity, packet, offset); offset += 4;

	/* medidas->data[4] = h2s_semeatech.ppb;
	medidas->data[5] = h2s_semeatech.ug;
	medidas->data[6] = h2s_semeatech.temperature;
	medidas->data[7] = h2s_semeatech.humidity; */
	medidas.data[4] = h2s_semeatech.ppb;
	medidas.data[5] = h2s_semeatech.ug;
	medidas.data[6] = h2s_semeatech.temperature;
	medidas.data[7] = h2s_semeatech.humidity;
	//float_to_bytes(h2s_semeatech.ppb, packet, offset); offset += 4;
	//float_to_bytes(h2s_semeatech.ug, packet, offset); offset += 4;
	//float_to_bytes(h2s_semeatech.temperature, packet, offset); offset += 4;
	//float_to_bytes(h2s_semeatech.humidity, packet, offset); offset += 4;

	medidas.data[8]  = so2_semeatech.ppb;
	medidas.data[9]  = so2_semeatech.ug;
	medidas.data[10] = so2_semeatech.temperature;
	medidas.data[11] = so2_semeatech.humidity;
	//float_to_bytes(so2_semeatech.ppb, packet, offset); offset += 4;
	//float_to_bytes(so2_semeatech.ug, packet, offset); offset += 4;
	//float_to_bytes(so2_semeatech.temperature, packet, offset); offset += 4;
	//float_to_bytes(so2_semeatech.humidity, packet, offset); offset += 4;

	medidas.data[12]  = nh3_semeatech.ppb;
	medidas.data[13]  = nh3_semeatech.ug;
	medidas.data[14]  = nh3_semeatech.temperature;
	medidas.data[15]  = nh3_semeatech.humidity;
	//float_to_bytes(nh3_semeatech.ppb, packet, offset); offset += 4;
	//float_to_bytes(nh3_semeatech.ug, packet, offset); offset += 4;
	//float_to_bytes(nh3_semeatech.temperature, packet, offset); offset += 4;
	//float_to_bytes(nh3_semeatech.humidity, packet, offset); offset += 4;

	medidas.data[16]  = ch3sh_semeatech.ppb;
	medidas.data[17]  = ch3sh_semeatech.ug;
	medidas.data[18]  = ch3sh_semeatech.temperature;
	medidas.data[19]  = ch3sh_semeatech.humidity;
	//float_to_bytes(ch3sh_semeatech.ppb, packet, offset); offset += 4;
	//float_to_bytes(ch3sh_semeatech.ug, packet, offset); offset += 4;
	//float_to_bytes(ch3sh_semeatech.temperature, packet, offset); offset += 4;
	//float_to_bytes(ch3sh_semeatech.humidity, packet, offset); offset += 4;

	medidas.data[20] = mics.co;
	medidas.data[21] = mics.nh3;
	medidas.data[22] = mics.no2;

	medidas.data[23] = 0;
	medidas.data[24] = 0;

	medidas.data[25] = 0;

	medidas.data[26] = bme.temp;
	medidas.data[27] = bme.pres;
	medidas.data[28] = bme.humid;
	//float_to_bytes(bme.temp, packet, offset); offset += 4;
	//float_to_bytes(bme.pres, packet, offset); offset += 4;
	//float_to_bytes(bme.humid, packet, offset); offset += 4;

	medidas.data[29] = anemo.direcao;
	medidas.data[30] = anemo.vel_ms;

	HAL_GPIO_WritePin(GPIOB, GPIO_PIN_13, GPIO_PIN_RESET);
	appendFileMedidas(file_name1, &medidas);
	HAL_GPIO_WritePin(GPIOB, GPIO_PIN_13, GPIO_PIN_SET);

	controleUmidade();

	parse_data();

	HAL_Delay(54000);

    /* USER CODE END WHILE */

    /* USER CODE BEGIN 3 */
//#ifdef IWDG_ON
//    HAL_IWDG_Refresh(&hiwdg);
//#endif
  }
  /* USER CODE END 3 */
}

void SystemClock_Config(void)
{
  RCC_OscInitTypeDef RCC_OscInitStruct = {0};
  RCC_ClkInitTypeDef RCC_ClkInitStruct = {0};

  /** Configure the main internal regulator output voltage
  */
  HAL_PWREx_ControlVoltageScaling(PWR_REGULATOR_VOLTAGE_SCALE1);

  /** Configure LSE Drive Capability
  */
  HAL_PWR_EnableBkUpAccess();
  __HAL_RCC_LSEDRIVE_CONFIG(RCC_LSEDRIVE_LOW);

  /** Initializes the RCC Oscillators according to the specified parameters
  * in the RCC_OscInitTypeDef structure.
  */
  RCC_OscInitStruct.OscillatorType = RCC_OSCILLATORTYPE_HSE|RCC_OSCILLATORTYPE_LSE;
  RCC_OscInitStruct.HSEState = RCC_HSE_ON;
  RCC_OscInitStruct.LSEState = RCC_LSE_ON;
  RCC_OscInitStruct.PLL.PLLState = RCC_PLL_NONE;
  if (HAL_RCC_OscConfig(&RCC_OscInitStruct) != HAL_OK)
  {
    Error_Handler();
  }

  /** Initializes the CPU, AHB and APB buses clocks
  */
  RCC_ClkInitStruct.ClockType = RCC_CLOCKTYPE_HCLK|RCC_CLOCKTYPE_SYSCLK
                              |RCC_CLOCKTYPE_PCLK1|RCC_CLOCKTYPE_PCLK2;
  RCC_ClkInitStruct.SYSCLKSource = RCC_SYSCLKSOURCE_HSE;
  RCC_ClkInitStruct.AHBCLKDivider = RCC_SYSCLK_DIV1;
  RCC_ClkInitStruct.APB1CLKDivider = RCC_HCLK_DIV1;
  RCC_ClkInitStruct.APB2CLKDivider = RCC_HCLK_DIV1;

  if (HAL_RCC_ClockConfig(&RCC_ClkInitStruct, FLASH_LATENCY_0) != HAL_OK)
  {
    Error_Handler();
  }
}

void Error_Handler(void)
{
  __disable_irq();
  while (1)
  {
  }
}
